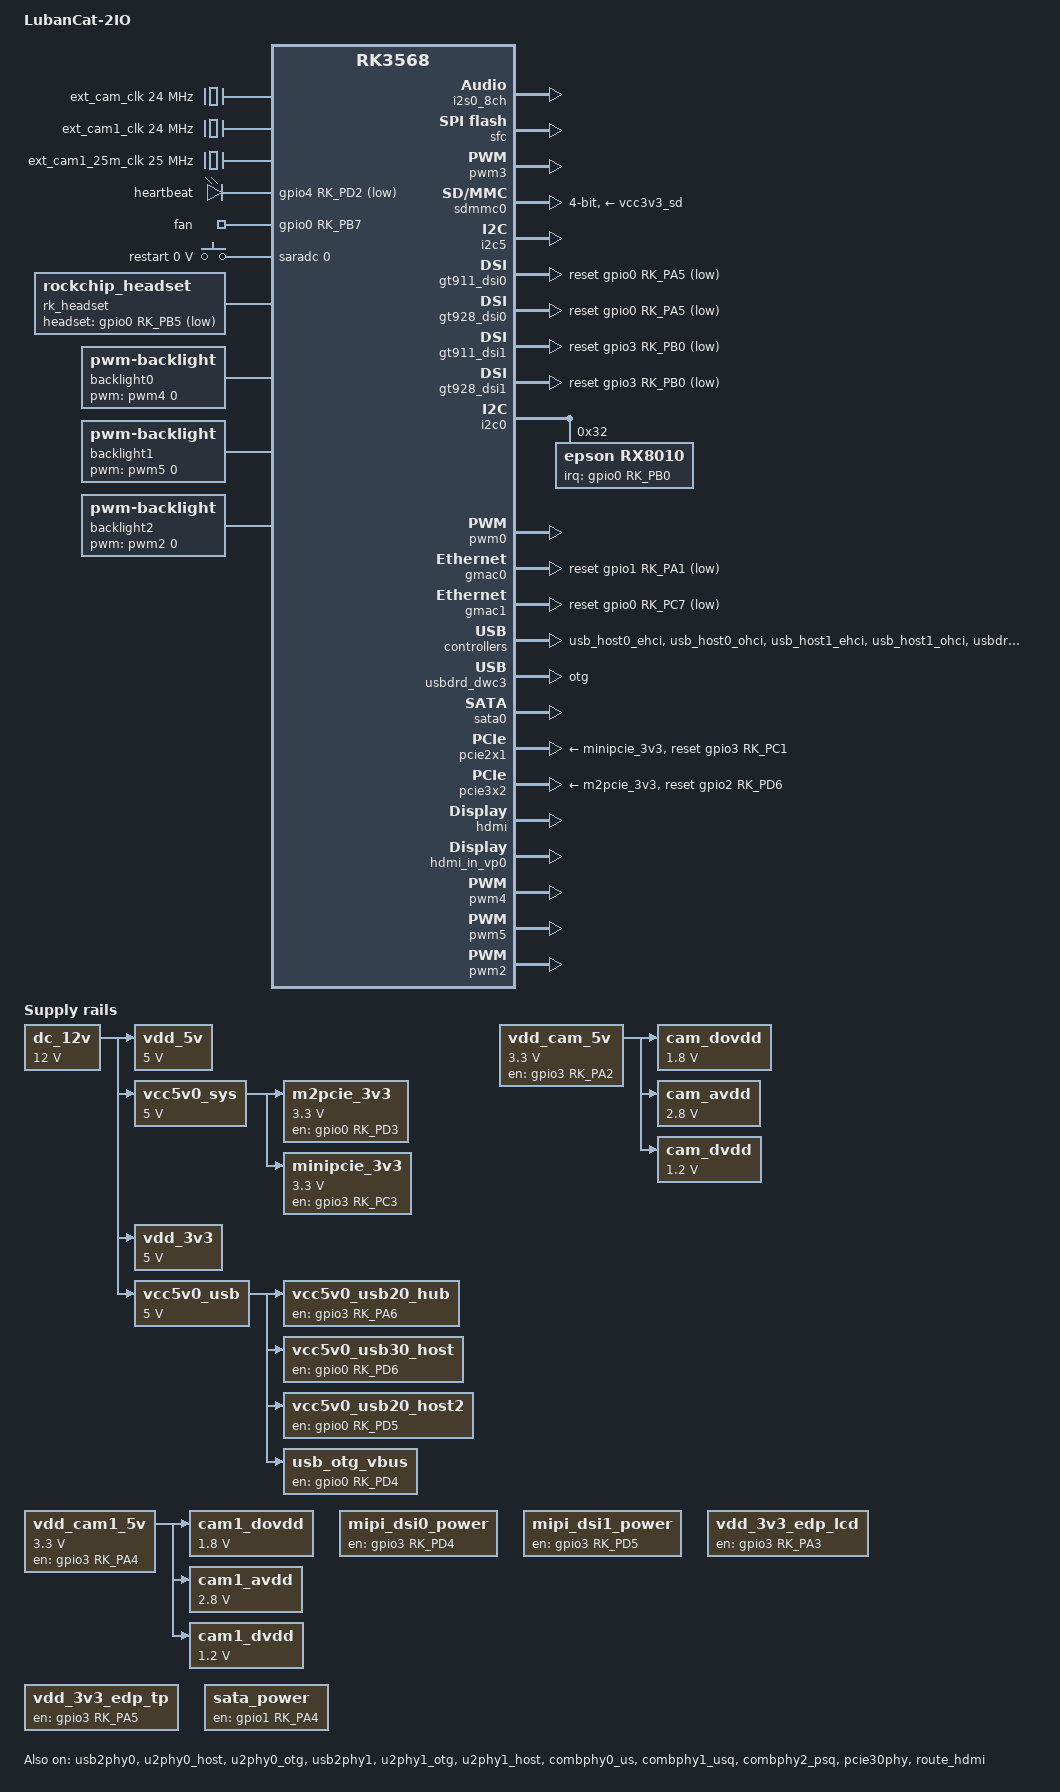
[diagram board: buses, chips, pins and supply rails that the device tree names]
// SPDX-License-Identifier: (GPL-2.0+ OR MIT)
/*
 * Copyright (c) 2020 Rockchip Electronics Co., Ltd.
 * Copyright (c) 2023 EmbedFire Electronic Technology Co., Ltd.
 *
 * LubanCat-2IO development board devicestree
 */

#include "rk3568-lubancat-2core-port.dtsi"

//MIPI摄像头配置
#include "rk3568-lubancat-csi2-double.dtsi"

// MIPI-DSI屏幕
#include "rk3568-lubancat-dsi.dtsi"

/ {
	model = "LubanCat-2IO";
	compatible = "rockchip,rk3568-lubancat-2io", "rockchip,rk3568";

	dc_12v: dc-12v {
		compatible = "regulator-fixed";
		regulator-name = "dc_12v";
		regulator-always-on;
		regulator-boot-on;
		regulator-min-microvolt = <12000000>;
		regulator-max-microvolt = <12000000>;
	};

	ext_cam_clk: external-camera0-clock {
		compatible = "fixed-clock";
		#clock-cells = <0>;
		clock-frequency = <24000000>;
		clock-output-names = "CLK_CAMERA0_24MHZ";
	};

	vdd_cam_5v: vdd-cam0-5v-regulator {
		compatible = "regulator-fixed";
		regulator-name = "vdd_cam_5v";
		regulator-min-microvolt = <3300000>;
		regulator-max-microvolt = <3300000>;
		gpio = <&gpio3 RK_PA2 GPIO_ACTIVE_HIGH>;
		pinctrl-names = "default";
		pinctrl-0 = <&cam_pwr_en>;
		enable-active-high;
		regulator-always-on;
	};

	cam_dovdd: cam_dovdd {
		compatible = "regulator-fixed";
		regulator-name = "cam_dovdd";
		regulator-always-on;
		regulator-boot-on;
		regulator-min-microvolt = <1800000>;
		regulator-max-microvolt = <1800000>;
		vin-supply = <&vdd_cam_5v>;
	};

	cam_avdd: cam_avdd {
		compatible = "regulator-fixed";
		regulator-name = "cam_avdd";
		regulator-always-on;
		regulator-boot-on;
		regulator-min-microvolt = <2800000>;
		regulator-max-microvolt = <2800000>;
		vin-supply = <&vdd_cam_5v>;
	};

	cam_dvdd: cam_dvdd {
		compatible = "regulator-fixed";
		regulator-name = "cam_dvdd";
		regulator-always-on;
		regulator-boot-on;
		regulator-min-microvolt = <1200000>;
		regulator-max-microvolt = <1200000>;
		vin-supply = <&vdd_cam_5v>;
	};

	ext_cam1_clk: external-camera1-clock {
		compatible = "fixed-clock";
		#clock-cells = <0>;
		clock-frequency = <24000000>;
		clock-output-names = "CLK_CAMERA1_24MHZ";
	};

	ext_cam1_25m_clk: external-camera1-25m-clock {
		compatible = "fixed-clock";
		clock-frequency = <25000000>;
		clock-output-names = "ext_cam1_25m_clk";
		#clock-cells = <0>;
	};

	vdd_cam1_5v: vdd-cam1-5v-regulator {
		compatible = "regulator-fixed";
		regulator-name = "vdd_cam1_5v";
		regulator-min-microvolt = <3300000>;
		regulator-max-microvolt = <3300000>;
		gpio = <&gpio3 RK_PA4 GPIO_ACTIVE_HIGH>;
		pinctrl-names = "default";
		pinctrl-0 = <&cam1_pwr_en>;
		enable-active-high;
		regulator-always-on;
	};

	cam1_dovdd: cam1-dovdd {
		compatible = "regulator-fixed";
		regulator-name = "cam1_dovdd";
		regulator-always-on;
		regulator-boot-on;
		regulator-min-microvolt = <1800000>;
		regulator-max-microvolt = <1800000>;
		vin-supply = <&vdd_cam1_5v>;
	};

	cam1_avdd: cam1-avdd {
		compatible = "regulator-fixed";
		regulator-name = "cam1_avdd";
		regulator-always-on;
		regulator-boot-on;
		regulator-min-microvolt = <2800000>;
		regulator-max-microvolt = <2800000>;
		vin-supply = <&vdd_cam1_5v>;
	};

	cam1_dvdd: cam1-dvdd {
		compatible = "regulator-fixed";
		regulator-name = "cam1_dvdd";
		regulator-always-on;
		regulator-boot-on;
		regulator-min-microvolt = <1200000>;
		regulator-max-microvolt = <1200000>;
		vin-supply = <&vdd_cam1_5v>;
	};

	vdd_5v: vdd-5v {
		compatible = "regulator-fixed";
		regulator-name = "vdd_5v";
		regulator-always-on;
		regulator-boot-on;
		regulator-min-microvolt = <5000000>;
		regulator-max-microvolt = <5000000>;
		vin-supply = <&dc_12v>;
	};

	vcc5v0_sys: vcc5v0-sys {
		compatible = "regulator-fixed";
		regulator-name = "vcc5v0_sys";
		regulator-always-on;
		regulator-boot-on;
		regulator-min-microvolt = <5000000>;
		regulator-max-microvolt = <5000000>;
		vin-supply = <&dc_12v>;
	};

	vdd_3v3: vdd-3v3 {
		compatible = "regulator-fixed";
		regulator-name = "vdd_3v3";
		regulator-always-on;
		regulator-boot-on;
		regulator-min-microvolt = <5000000>;
		regulator-max-microvolt = <5000000>;
		vin-supply = <&dc_12v>;
	};

	vcc5v0_usb: vcc5v0-usb {
		compatible = "regulator-fixed";
		regulator-name = "vcc5v0_usb";
		regulator-always-on;
		regulator-boot-on;
		regulator-min-microvolt = <5000000>;
		regulator-max-microvolt = <5000000>;
		vin-supply = <&dc_12v>;
	};

	mipi_dsi0_power: mipi-dsi0-power-regulator {
		compatible = "regulator-fixed";
		enable-active-high;
		gpio = <&gpio3 RK_PD4 GPIO_ACTIVE_HIGH>;
		pinctrl-names = "default";
		pinctrl-0 = <&mipi_dsi0_pwr_en>;
		regulator-name = "mipi_dsi0_power";
		regulator-always-on;
	};

	mipi_dsi1_power: mipi-dsi1-power-regulator {
		compatible = "regulator-fixed";
		enable-active-high;
		gpio = <&gpio3 RK_PD5 GPIO_ACTIVE_HIGH>;
		pinctrl-names = "default";
		pinctrl-0 = <&mipi_dsi1_pwr_en>;
		regulator-name = "mipi_dsi1_power";
		regulator-always-on;
	};

	vcc5v0_usb20_hub: vcc5v0-usb20-hub-regulator {
		compatible = "regulator-fixed";
		enable-active-high;
		gpio = <&gpio3 RK_PA6 GPIO_ACTIVE_HIGH>;
		pinctrl-names = "default";
		pinctrl-0 = <&usb20_hub_pwr_en>;
		regulator-name = "vcc5v0_usb20_hub";
		regulator-always-on;
		vin-supply = <&vcc5v0_usb>;
	};

	vcc5v0_usb30_host: vcc5v0-usb30-host-regulator {
		compatible = "regulator-fixed";
		enable-active-high;
		gpio = <&gpio0 RK_PD6 GPIO_ACTIVE_HIGH>;
		pinctrl-names = "default";
		pinctrl-0 = <&usb30_host1_pwr_en>;
		regulator-name = "vcc5v0_usb30_host";
		regulator-always-on;
		vin-supply = <&vcc5v0_usb>;
	};

	vcc5v0_usb20_host2: vcc5v0-usb20-host-regulator {
		compatible = "regulator-fixed";
		enable-active-high;
		gpio = <&gpio0 RK_PD5 GPIO_ACTIVE_HIGH>;
		pinctrl-names = "default";
		pinctrl-0 = <&usb20_host2_pwr_en>;
		regulator-name = "vcc5v0_usb20_host2";
		regulator-always-on;
		vin-supply = <&vcc5v0_usb>;
	};

	usb_otg_vbus: usb-otg-vbus-regulator {
		compatible = "regulator-fixed";
		enable-active-high;
		gpio = <&gpio0 RK_PD4 GPIO_ACTIVE_HIGH>;
		pinctrl-names = "default";
		pinctrl-0 = <&usb_otg_vbus_en>;
		regulator-name = "vcc5v0_otg";
		vin-supply = <&vcc5v0_usb>;
	};

	vdd_3v3_edp_lcd: vdd-3v3-edp-lcd-regulator {
		compatible = "regulator-fixed";
		enable-active-high;
		gpio = <&gpio3 RK_PA3 GPIO_ACTIVE_HIGH>;
		pinctrl-names = "default";
		pinctrl-0 = <&edp_lcd_pwr_en>;
		regulator-name = "vdd_3v3_edp_lcd";
		regulator-always-on;
	};

	vdd_3v3_edp_tp: vdd-3v3-edp-tp-regulator {
		compatible = "regulator-fixed";
		enable-active-high;
		gpio = <&gpio3 RK_PA5 GPIO_ACTIVE_HIGH>;
		pinctrl-names = "default";
		pinctrl-0 = <&edp_tp_pwr_en>;
		regulator-name = "vdd_3v3_edp_tp";
		regulator-always-on;
	};

	sata_power: sata-power-regulator {
		compatible = "regulator-fixed";
		gpio = <&gpio1 RK_PA4 GPIO_ACTIVE_HIGH>;
		enable-active-high;
		regulator-boot-on;
		pinctrl-names = "default";
		pinctrl-0 = <&sata_pwr_en>;
		regulator-name = "sata_power";
	};

	m2pcie_3v3: m2pcie-3v3-regulator {
		compatible = "regulator-fixed";
		regulator-name = "minipcie_3v3";
		regulator-min-microvolt = <3300000>;
		regulator-max-microvolt = <3300000>;
		enable-active-high;
		regulator-always-on;
		gpio = <&gpio0 RK_PD3 GPIO_ACTIVE_HIGH>;
		startup-delay-us = <5000>;
		vin-supply = <&vcc5v0_sys>;
	};

	minipcie_3v3: minipcie-3v3-regulator {
		compatible = "regulator-fixed";
		regulator-name = "minipcie_3v3";
		regulator-min-microvolt = <3300000>;
		regulator-max-microvolt = <3300000>;
		enable-active-high;
		regulator-always-on;
		gpio = <&gpio3 RK_PC3 GPIO_ACTIVE_HIGH>;
		startup-delay-us = <5000>;
		vin-supply = <&vcc5v0_sys>;
	};

	leds: leds {
		status = "okay";
		compatible = "gpio-leds";

		led0: led0 {
			label = "heartbeat";
			linux,default-trigger = "heartbeat";
			default-state = "on";
			gpios = <&gpio4 RK_PD2 GPIO_ACTIVE_LOW>;
			pinctrl-names = "default";
			pinctrl-0 = <&led0_pin>;
		};

		fan: fan {
			label = "fan";
			default-state = "on";
			linux,default-trigger = "none";
			gpios = <&gpio0 RK_PB7 GPIO_ACTIVE_HIGH>;
			pinctrl-names = "default";
			pinctrl-0 = <&fan_pin>;
		};
		
	};

	adc_keys: adc-keys {
		compatible = "adc-keys";
		io-channels = <&saradc 0>;
		io-channel-names = "buttons";
		keyup-threshold-microvolt = <1800000>;
		poll-interval = <100>;

		restart-key {
			label = "restart";
			linux,code = <KEY_RESTART>;
			press-threshold-microvolt = <9>;
		};
	};

	rk_headset: rk-headset {
		status = "okay";
		compatible = "rockchip_headset";
		headset_gpio = <&gpio0 RK_PB5 GPIO_ACTIVE_LOW>;
		pinctrl-names = "default";
		pinctrl-0 = <&hp_det>;
	};

	backlight0: backlight0 {
		status = "okay";
		compatible = "pwm-backlight";
		pwms = <&pwm4 0 50000 0>;
		brightness-levels = <
			 95  95  95  95  95  95  95  95
			 95  95  95  95  95  95  95  95
			 95  95  95  95  95  95  95  95
			 95  95  95  95  95  95  95  95
			 95  95  95  95  95  95  95  95
			 95  95  95  95  95  95  95  95
			 95  95  95  95  95  95  95  95
			 95  95  95  95  95  95  95  95
			 95  95  95  95  95  95  95  95
			 95  95  95  95  95  95  95  95
			 95  95  95  95  95  95  95  95
			 88  89  90  91  92  93  94  95
			 96  97  98  99 100 101 102 103
			104 105 106 107 108 109 110 111
			112 113 114 115 116 117 118 119
			120 121 122 123 124 125 126 127
			128 129 130 131 132 133 134 135
			136 137 138 139 140 141 142 143
			144 145 146 147 148 149 150 151
			152 153 154 155 156 157 158 159
			160 161 162 163 164 165 166 167
			168 169 170 171 172 173 174 175
			176 177 178 179 180 181 182 183
			184 185 186 187 188 189 190 191
			192 193 194 195 196 197 198 199
			200 201 202 203 204 205 206 207
			208 209 210 211 212 213 214 215
			216 217 218 219 220 221 222 223
			224 225 226 227 228 229 230 231
			232 233 234 235 236 237 238 239
			240 241 242 243 244 245 246 247
			248 249 250 251 252 253 254 255
		>;
		default-brightness-level = <200>;
	};

	backlight1: backlight1 {
		status = "okay";
		compatible = "pwm-backlight";
		pwms = <&pwm5 0 50000 0>;
		brightness-levels = <
			95  95  95  95  95  95  95  95
			95  95  95  95  95  95  95  95
			95  95  95  95  95  95  95  95
			95  95  95  95  95  95  95  95
			95  95  95  95  95  95  95  95
			95  95  95  95  95  95  95  95
			95  95  95  95  95  95  95  95
			95  95  95  95  95  95  95  95
			95  95  95  95  95  95  95  95
			95  95  95  95  95  95  95  95
			95  95  95  95  95  95  95  95
			88  89  90  91  92  93  94  95
			96  97  98  99  100 101 102 103
			104 105 106 107 108 109 110 111
			112 113 114 115 116 117 118 119
			120 121 122 123 124 125 126 127
			128 129 130 131 132 133 134 135
			136 137 138 139 140 141 142 143
			144 145 146 147 148 149 150 151
			152 153 154 155 156 157 158 159
			160 161 162 163 164 165 166 167
			168 169 170 171 172 173 174 175
			176 177 178 179 180 181 182 183
			184 185 186 187 188 189 190 191
			192 193 194 195 196 197 198 199
			200 201 202 203 204 205 206 207
			208 209 210 211 212 213 214 215
			216 217 218 219 220 221 222 223
			224 225 226 227 228 229 230 231
			232 233 234 235 236 237 238 239
			240 241 242 243 244 245 246 247
			248 249 250 251 252 253 254 255
		>;
		default-brightness-level = <200>;
	};

	backlight2: backlight2 {
		status = "okay";
		compatible = "pwm-backlight";
		pwms = <&pwm2 0 500000 0>; //2khz
		brightness-levels = <
			0   1   2   3   4   5   6   7
			8   9   10  11  12  13  14  15
			16  17  18  19  20  21  22  23
			24  25  26  27  28  29  30  31
			32  33  34  35  36  37  38  39
			40  41  42  43  44  45  46  47
			48  49  50  51  52  53  54  55
			56  57  58  59  60  61  62  63
			64  65  66  67  68  69  70  71
			72  73  74  75  76  77  78  79
			80  81  82  83  84  85  86  87
			88  89  90  91  92  93  94  95
			96  97  98  99  100 101 102 103
			104 105 106 107 108 109 110 111
			112 113 114 115 116 117 118 119
			120 121 122 123 124 125 126 127
			128 129 130 131 132 133 134 135
			136 137 138 139 140 141 142 143
			144 145 146 147 148 149 150 151
			152 153 154 155 156 157 158 159
			160 161 162 163 164 165 166 167
			168 169 170 171 172 173 174 175
			176 177 178 179 180 181 182 183
			184 185 186 187 188 189 190 191
			192 193 194 195 196 197 198 199
			200 201 202 203 204 205 206 207
			208 209 210 211 212 213 214 215
			216 217 218 219 220 221 222 223
			224 225 226 227 228 229 230 231
			232 233 234 235 236 237 238 239
			240 241 242 243 244 245 246 247
			248 249 250 251 252 253 254 255>;
		default-brightness-level = <200>;
	};
	
	hdmi_sound: hdmi-sound {
		compatible = "simple-audio-card";
		simple-audio-card,format = "i2s";
		simple-audio-card,mclk-fs = <128>;
		simple-audio-card,name = "rockchip,hdmi";
		status = "okay";

		simple-audio-card,cpu {
			sound-dai = <&i2s0_8ch>;
		};
		simple-audio-card,codec {
			sound-dai = <&hdmi>;
		};
	};
};

&i2s0_8ch {
    status = "okay";
};

&sfc{
	status = "okay";
};

&pwm3 {
	status = "okay";

	compatible = "rockchip,remotectl-pwm";
	interrupts = <GIC_SPI 82 IRQ_TYPE_LEVEL_HIGH>;
	remote_pwm_id = <3>;
	handle_cpu_id = <1>;
	remote_support_psci = <0>;
	pinctrl-names = "default";
	pinctrl-0 = <&pwm3_pins>;

	ir_key_lubancat{
		rockchip,usercode = <0x909>;
		rockchip,key_table =
			<0xf4   KEY_POWER>,
			<0xe6   KEY_SLEEP>,
			<0xe4   KEY_WAKEUP>,
			<0xed   KEY_VOLUMEUP>,
			<0xec   KEY_VOLUMEDOWN>,
			<0xef   KEY_UP>,
			<0xee   KEY_DOWN>;
	};

	ir_key1 {
		rockchip,usercode = <0x4040>;
		rockchip,key_table =
			<0xf2	KEY_REPLY>,
			<0xba	KEY_BACK>,
			<0xf4	KEY_UP>,
			<0xf1	KEY_DOWN>,
			<0xef	KEY_LEFT>,
			<0xee	KEY_RIGHT>,
			<0xbd	KEY_HOME>,
			<0xea	KEY_VOLUMEUP>,
			<0xe3	KEY_VOLUMEDOWN>,
			<0xe2	KEY_SEARCH>,
			<0xb2	KEY_POWER>,
			<0xbc	KEY_MUTE>,
			<0xec	KEY_MENU>,
			<0xbf	0x190>,
			<0xe0	0x191>,
			<0xe1	0x192>,
			<0xe9	183>,
			<0xe6	248>,
			<0xe8	185>,
			<0xe7	186>,
			<0xf0	388>,
			<0xbe	0x175>;
	};

	ir_key2 {
		rockchip,usercode = <0xff00>;
		rockchip,key_table =
			<0xf9	KEY_HOME>,
			<0xbf	KEY_BACK>,
			<0xfb	KEY_MENU>,
			<0xaa	KEY_REPLY>,
			<0xb9	KEY_UP>,
			<0xe9	KEY_DOWN>,
			<0xb8	KEY_LEFT>,
			<0xea	KEY_RIGHT>,
			<0xeb	KEY_VOLUMEDOWN>,
			<0xef	KEY_VOLUMEUP>,
			<0xf7	KEY_MUTE>,
			<0xe7	KEY_POWER>,
			<0xfc	KEY_POWER>,
			<0xa9	KEY_VOLUMEDOWN>,
			<0xa8	KEY_VOLUMEDOWN>,
			<0xe0	KEY_VOLUMEDOWN>,
			<0xa5	KEY_VOLUMEDOWN>,
			<0xab	183>,
			<0xb7	388>,
			<0xe8	388>,
			<0xf8	184>,
			<0xaf	185>,
			<0xed	KEY_VOLUMEDOWN>,
			<0xee	186>,
			<0xb3	KEY_VOLUMEDOWN>,
			<0xf1	KEY_VOLUMEDOWN>,
			<0xf2	KEY_VOLUMEDOWN>,
			<0xf3	KEY_SEARCH>,
			<0xb4	KEY_VOLUMEDOWN>,
			<0xbe	KEY_SEARCH>;
	};

	ir_key3 {
		rockchip,usercode = <0x1dcc>;
		rockchip,key_table =
			<0xee	KEY_REPLY>,
			<0xf0	KEY_BACK>,
			<0xf8	KEY_UP>,
			<0xbb	KEY_DOWN>,
			<0xef	KEY_LEFT>,
			<0xed	KEY_RIGHT>,
			<0xfc	KEY_HOME>,
			<0xf1	KEY_VOLUMEUP>,
			<0xfd	KEY_VOLUMEDOWN>,
			<0xb7	KEY_SEARCH>,
			<0xff	KEY_POWER>,
			<0xf3	KEY_MUTE>,
			<0xbf	KEY_MENU>,
			<0xf9	0x191>,
			<0xf5	0x192>,
			<0xb3	388>,
			<0xbe	KEY_1>,
			<0xba	KEY_2>,
			<0xb2	KEY_3>,
			<0xbd	KEY_4>,
			<0xf9	KEY_5>,
			<0xb1	KEY_6>,
			<0xfc	KEY_7>,
			<0xf8	KEY_8>,
			<0xb0	KEY_9>,
			<0xb6	KEY_0>,
			<0xb5	KEY_BACKSPACE>;
	};
};

&sdmmc0 {
	max-frequency = <150000000>;
	supports-sd;
	bus-width = <4>;
	cap-mmc-highspeed;
	cap-sd-highspeed;
	disable-wp;
	sd-uhs-sdr104;
	vmmc-supply = <&vcc3v3_sd>;
	status = "okay";
};

&xin32k {
	status = "disabled"; //use for RX8010_nIRQ1
};

&rk809 {
	rtc {
		status = "disabled"; //use rx8010
	};
};

&i2c5 {
	status = "okay";
};

//cam0-gpio-setting
&ov5647 {
    pwdn-gpios = <&gpio0 RK_PC6 GPIO_ACTIVE_LOW>;
};

&ov5648 {
	pwdn-gpios = <&gpio0 RK_PC6 GPIO_ACTIVE_HIGH>;
	reset-gpios = <&gpio1 RK_PB0 GPIO_ACTIVE_LOW>;
};

&ov8858 {
	pwdn-gpios = <&gpio0 RK_PC6 GPIO_ACTIVE_HIGH>;
	reset-gpios = <&gpio1 RK_PB0 GPIO_ACTIVE_HIGH>;
};
 
&sc132gs {
	pwdn-gpios = <&gpio0 RK_PC6 GPIO_ACTIVE_HIGH>;
	reset-gpios = <&gpio1 RK_PB0 GPIO_ACTIVE_HIGH>;
};


//cam1-gpio-setting
&cam1_ov5647 {
    pwdn-gpios = <&gpio1 RK_PB1 GPIO_ACTIVE_LOW>;
};

&cam1_ov5648 {
	pwdn-gpios = <&gpio1 RK_PB1 GPIO_ACTIVE_HIGH>;
	reset-gpios = <&gpio1 RK_PB2 GPIO_ACTIVE_LOW>;
};

&cam1_ov8858 {
	pwdn-gpios = <&gpio1 RK_PB1 GPIO_ACTIVE_HIGH>;
	reset-gpios = <&gpio1 RK_PB2 GPIO_ACTIVE_HIGH>;
};

&cam1_sc132gs {
	pwdn-gpios = <&gpio1 RK_PB1 GPIO_ACTIVE_HIGH>;
	reset-gpios = <&gpio1 RK_PB2 GPIO_ACTIVE_HIGH>;
};

// mipi dsi0 gpio set
&dsi0_panel {
	reset-gpios = <&gpio0 RK_PC0 GPIO_ACTIVE_LOW>;
};

&gt911_dsi0 {
	interrupt-parent = <&gpio0>;
	interrupts = <RK_PA0 IRQ_TYPE_LEVEL_LOW>;
	reset-gpios = <&gpio0 RK_PA5 GPIO_ACTIVE_LOW>;
	irq-gpios = <&gpio0 RK_PA0 GPIO_ACTIVE_HIGH>;
};

&gt928_dsi0 {
	interrupt-parent = <&gpio0>;
	interrupts = <RK_PA0 IRQ_TYPE_LEVEL_LOW>;
	reset-gpios = <&gpio0 RK_PA5 GPIO_ACTIVE_LOW>;
	irq-gpios = <&gpio0 RK_PA0 GPIO_ACTIVE_HIGH>;
};

// mipi dsi1 gpio set
&dsi1_panel {
	reset-gpios = <&gpio3 RK_PB6 GPIO_ACTIVE_LOW>;
};

&gt911_dsi1 {
	interrupt-parent = <&gpio3>;
	interrupts = <RK_PA1 IRQ_TYPE_LEVEL_LOW>;
	reset-gpios = <&gpio3 RK_PB0 GPIO_ACTIVE_LOW>;
	irq-gpios = <&gpio3 RK_PA1 GPIO_ACTIVE_HIGH>;
};

&gt928_dsi1 {
	interrupt-parent = <&gpio3>;
	interrupts = <RK_PA1 IRQ_TYPE_LEVEL_LOW>;
	reset-gpios = <&gpio3 RK_PB0 GPIO_ACTIVE_LOW>;
	irq-gpios = <&gpio3 RK_PA1 GPIO_ACTIVE_HIGH>;
};

&i2c0 {
	rx8010: rx8010@32 {
		compatible = "epson,rx8010";
		reg = <0x32>;
		pinctrl-0 = <&rx8010_irq>;
		interrupt-parent = <&gpio0>;
		interrupts = <RK_PB0 IRQ_TYPE_LEVEL_LOW>;
		status = "okay";
	};
};

&uart3 {
	status = "disabled"; //Default to use DTBO
};

&uart4 {
	status = "disabled"; //Default to use DTBO
};

&uart7 {
	status = "disabled"; //Default to use DTBO
};

&uart9 {
	status = "disabled"; //Default to use DTBO
};

&pwm0 {
	status = "okay";
};

&gmac0 {
	snps,reset-gpio = <&gpio1 RK_PA1 GPIO_ACTIVE_LOW>;
	tx_delay = <0x1c>;
	rx_delay = <0x08>;
	status = "okay";
};

&gmac1 {
	snps,reset-gpio = <&gpio0 RK_PC7 GPIO_ACTIVE_LOW>;
	tx_delay = <0x26>;
	rx_delay = <0x00>;
	status = "okay";
};

/* USB OTG/USB Host_1 USB 2.0 Comb */
&usb2phy0 {
	status = "okay";
};

&u2phy0_host {
	status = "okay";
	phy-supply = <&vcc5v0_usb30_host>;
};

&u2phy0_otg {
	status = "okay";
	vbus-supply = <&usb_otg_vbus>;
};

&usb_host0_ehci {
	status = "okay";
};

&usb_host0_ohci {
	status = "okay";
};

/* USB Host_2/USB Host_3 USB 2.0 Comb */
&usb2phy1 {
	status = "okay";
};

&u2phy1_otg {
	status = "okay";
	phy-supply = <&vcc5v0_usb20_host2>;
};

&u2phy1_host {
	status = "okay";
	phy-supply = <&vcc5v0_usb20_host2>;
};

&usb_host1_ehci {
	status = "okay";
};

&usb_host1_ohci {
	status = "okay";
};

/* MULTI_PHY0 For SATA0, USB3.0 OTG0 Only USB2.0 */
&combphy0_us {
	status = "okay";
};

&usbdrd30 {
	status = "okay";
};

&usbdrd_dwc3 {
	dr_mode = "otg";
	extcon = <&usb2phy0>;
	status = "okay";
};

&sata0 {
	target-supply = <&sata_power>;
	status = "okay";
};

/* MULTI_PHY1 For USB3.0 HOST1 */
&combphy1_usq {
	status = "okay";
};

&usbhost30 {
	status = "okay";
};

&usbhost_dwc3 {
	status = "okay";
};

/* MULTI_PHY2 For PCIe2.0 */
&combphy2_psq {
	status = "okay";
};

/* Mini PCIe */
&pcie2x1 {
	reset-gpios = <&gpio3 RK_PC1 GPIO_ACTIVE_HIGH>;
	disable-gpios = <&gpio3 RK_PC2 GPIO_ACTIVE_HIGH>;
	vpcie3v3-supply = <&minipcie_3v3>;
	status = "okay";
};

/* PCIe3.0x2 Comb */
&pcie30phy {
	status = "okay";
};

/* M.2 M-key PCIe */
&pcie3x2 {
	reset-gpios = <&gpio2 RK_PD6 GPIO_ACTIVE_HIGH>;
	vpcie3v3-supply = <&m2pcie_3v3>;
	status = "okay";
};

&route_hdmi {
	status = "okay";
	connect = <&vp0_out_hdmi>;
};

&hdmi {
	status = "okay";
};

&hdmi_in_vp0 {
	status = "okay";
};

&hdmi_in_vp1 {
	status = "disabled";
};

&pwm4 {
	status = "okay";
};

&pwm5 {
	status = "okay";
};

&pwm2 {
	status = "okay";
};

&pinctrl {
	headphone {
		hp_det: hp-det {
			rockchip,pins = <0 RK_PB5 RK_FUNC_GPIO &pcfg_pull_down>;
		};
	};

	leds {
		led0_pin: led0-pin {
			rockchip,pins = <4 RK_PD2 RK_FUNC_GPIO &pcfg_pull_none>;
		};

		fan_pin: fan-pin {
			rockchip,pins = <0 RK_PB7 RK_FUNC_GPIO &pcfg_pull_none>;
		};
	};

	cam {
		cam_pwr_en: cam_pwr_en {
			rockchip,pins = <3 RK_PA2 RK_FUNC_GPIO &pcfg_pull_none>;
		};
		cam1_pwr_en: cam1_pwr_en {
			rockchip,pins = <3 RK_PA4 RK_FUNC_GPIO &pcfg_pull_none>;
		};
	};

	lcd {
		edp_lcd_pwr_en: edp-lcd-pwr-en {
			rockchip,pins = <3 RK_PA3 RK_FUNC_GPIO &pcfg_pull_none>;
		};

		edp_tp_pwr_en: edp-tp-pwr-en {
			rockchip,pins = <3 RK_PA5 RK_FUNC_GPIO &pcfg_pull_none>;
		};

		mipi_dsi0_pwr_en: mipi-dsi0-pwr-en {
			rockchip,pins = <3 RK_PD4 RK_FUNC_GPIO &pcfg_pull_none>;
		};

		mipi_dsi1_pwr_en: mipi-dsi1-pwr-en {
			rockchip,pins = <3 RK_PD5 RK_FUNC_GPIO &pcfg_pull_none>;
		};
	};

	rx8010 {
		rx8010_irq: rx8010-irq {
			rockchip,pins = <0 RK_PB0 RK_FUNC_GPIO &pcfg_pull_none>;
		};
	};

	sata {
		sata_pwr_en: sata-pwr-en {
			rockchip,pins = <1 RK_PA4 RK_FUNC_GPIO &pcfg_pull_none>;
		};
	};

	usb {
		usb20_hub_pwr_en: usb20-hub-pwr-en {
			rockchip,pins = <3 RK_PA6 RK_FUNC_GPIO &pcfg_pull_none>;
		};

		usb30_host1_pwr_en: usb30-host1-pwr-en {
			rockchip,pins =	<0 RK_PD6 RK_FUNC_GPIO &pcfg_pull_none>;
		};

		usb20_host2_pwr_en: usb20-host2-pwr-en {
			rockchip,pins = <0 RK_PD5 RK_FUNC_GPIO &pcfg_pull_none>;
		};

		usb_otg_vbus_en: usb-otg-vbus-en {
			rockchip,pins = <0 RK_PD4 RK_FUNC_GPIO &pcfg_pull_none>;
		};
	};
};
